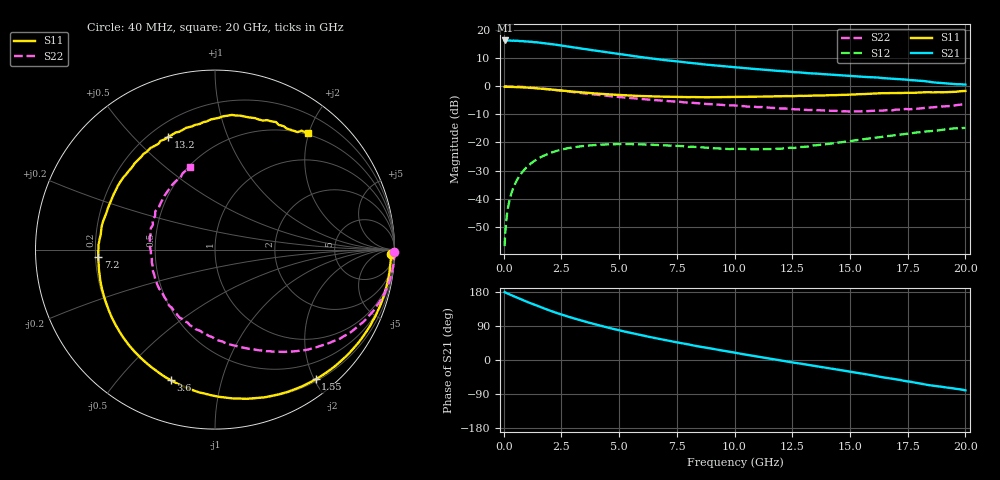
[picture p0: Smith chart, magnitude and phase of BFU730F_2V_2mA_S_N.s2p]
! Filename:  P:\Prog\Test\Noise\ATS_data\Testdata_Net\BFU730\BFU730_2W_B1_2V2mA_D.s2p
! Date/Time: Fri 29/Apr/2011 14:13:52
! BFU730_2W_B1_2V2mA
! bias mode 1: Vout= 2.0003 V, Iout= 1.9650 mA, Vin= 0.7645 V, Iin= 0.0054 mA
! Date/time Thu Mar 17 09:34:41 2011
! Device data file deembeded for feedlines and parallel
! Original file: \BFU730\BFU730_2W_B1_2V2mA_R.s2p
! Feed-files: PR003V01_101208_Feed1.s2p, PR003V01_101208_Feed2.s2p
! Parallel-file: PR003V01_101208_Par.s2p
# MHz S MA R 50
!  Freq-MHz  S11-mag  S11-arg  S21-mag  S21-arg  S12-mag  S12-arg  S22-mag  S22-arg
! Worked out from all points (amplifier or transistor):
!   167 points, 40 MHz to 20 GHz, reference 50 ohm
!   highest |S21| = 16.3 dB at 50 MHz (marker M1)
!   |S21| within 3 dB of that: start of sweep to 3.467 GHz
!   unconditionally stable (mu >= 1): 8.635 GHz to 16.41 GHz
!   at 550 MHz: K = 0.02, MSG = 25.0 dB, |S12| = -33.8 dB
!   at 4.2 GHz: K = 0.36, MSG = 16.6 dB, |S12| = -20.8 dB
!   at 20 GHz: K = 0.74, MSG = 7.7 dB, |S12| = -14.8 dB
!   lowest NFmin = 0.35 dB at 400 MHz
!   S11 on the Smith chart (normalised r, x): 40 MHz: 40, -51; 1.55 GHz: 0.23, -2.02; 3.6 GHz: 0.20, -0.70; 7.2 GHz: 0.21, -0.03; 13.2 GHz: 0.27, +0.63; 20 GHz: 0.48, +1.98
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40  0.9811 -1.4  6.542 179.2  0.001423 86.5  0.9994 -0.7
50  0.977 -1.9  6.566 178.4  0.001757 100.8  0.9987 -0.8
90  0.981 -3.1  6.557 177.5  0.003282 88.6  0.9994 -1.5
180  0.9809 -6.2  6.521 175.3  0.006633 87.1  0.999 -3.0
440  0.9748 -15.2  6.509 168.2  0.01642 81.8  0.9939 -7.5
1000  0.95 -34.3  6.321 153.8  0.03646 69.2  0.9661 -16.7
1550  0.9146 -52.2  6.01 140.6  0.05323 57.9  0.9239 -25.1
1900  0.8892 -63.2  5.785 132.6  0.06215 51.3  0.8927 -30.1
2300  0.8573 -75.0  5.482 124.0  0.07096 44.3  0.8558 -35.3
2800  0.8198 -88.7  5.109 114.3  0.07932 36.1  0.807 -41.0
3400  0.7797 -103.9  4.697 103.5  0.08597 27.7  0.7584 -47.4
3600  0.7682 -108.8  4.561 100.1  0.08764 25.3  0.741 -49.2
4400  0.7268 -126.7  4.081 87.2  0.09233 16.1  0.6829 -56.6
5200  0.6951 -142.8  3.66 75.6  0.09373 8.5  0.6339 -63.3
6800  0.656 -170.5  2.997 55.0  0.08979 -3.0  0.5584 -75.7
7200  0.6521 -176.4  2.872 50.3  0.08808 -4.7  0.5443 -78.9
8400  0.6439 166.4  2.537 36.4  0.08264 -8.2  0.5011 -89.1
10200  0.649 143.9  2.156 17.1  0.07703 -8.0  0.4469 -106.3
13200  0.6799 112.7  1.712 -12.9  0.08487 -0.5  0.3783 -141.9
13400  0.6826 110.7  1.699 -14.9  0.08836 -0.2  0.3797 -144.9
16800  0.7596 79.2  1.363 -49.0  0.1321 -6.9  0.3724 158.2
20000  0.8281 51.5  1.075 -80.1  0.1822 -27.4  0.4797 107.0
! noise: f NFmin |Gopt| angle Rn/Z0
400  0.3513  0.7404  7.63  0.2414
850  0.3952  0.6803  17.39  0.2403
1500  0.4598  0.6185  31.59  0.2335
2150  0.5258  0.5772  45.35  0.2217
3100  0.6248  0.5351  64.19  0.1974
4300  0.7543  0.4906  86.71  0.1597
6200  0.9694  0.4352  124.7  0.0995
8800  1.283  0.4794  179.6  0.06
1.14e+04  1.621  0.6059  219.3  0.1329
1.4e+04  1.98  0.6384  257.7  0.3875
